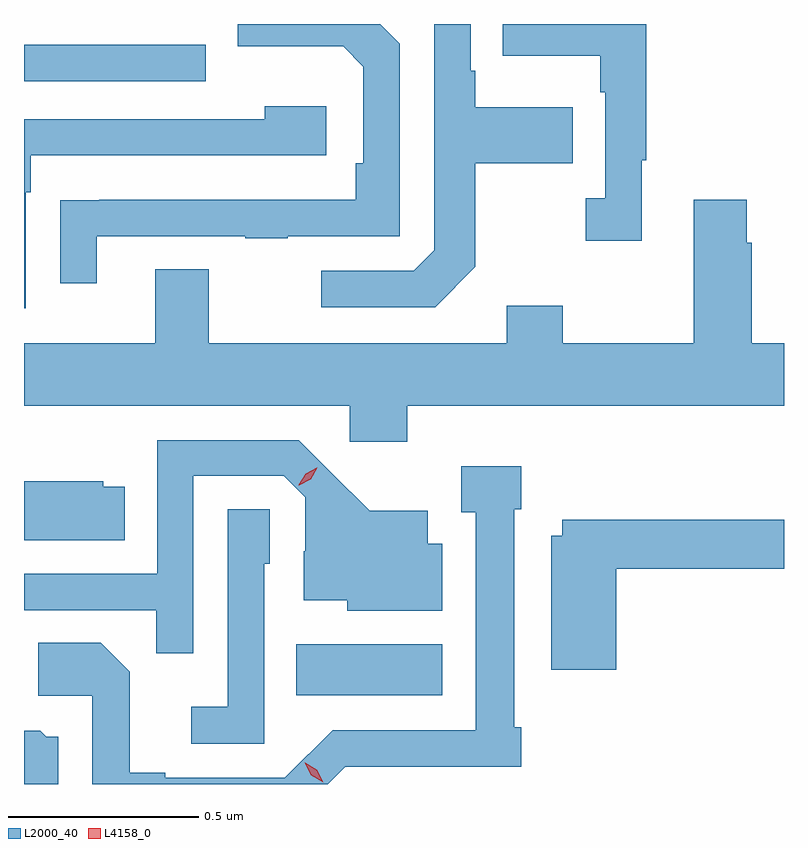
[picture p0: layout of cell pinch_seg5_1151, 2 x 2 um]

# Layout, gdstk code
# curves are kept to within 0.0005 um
import gdstk
lib = gdstk.Library(unit=1e-6, precision=1e-09)
def R(c, l, rs):  # rectangles x0, y0, x1, y1
    for r in rs: c.add(gdstk.rectangle(r[:2], r[2:], *l))
def P(c, l, *ps):  # polygons
    for p in ps: c.add(gdstk.Polygon(p, *l))
L2000_40 = (2000, 40)
L4158_0 = (4158, 0)

pinch_seg5_1151 = lib.new_cell('pinch_seg5_1151')
R(pinch_seg5_1151, L2000_40, [(792.934,838.682,793.318,838.816), (792.217,840.297,792.695,840.393)])
P(pinch_seg5_1151, L2000_40, [(792.409,839.889),(792.799,839.889),(792.799,839.884),(792.911,839.884),(792.911,839.889),(793.206,839.889),(793.206,840.396),(793.154,840.448),(792.78,840.448),(792.78,840.389),(793.057,840.389),(793.11,840.336),(793.11,840.082),(793.09,840.082),(793.09,839.985),(792.415,839.985),(792.415,839.984),(792.313,839.984),(792.313,839.766),(792.409,839.766)],
  [(793.843,840.089),(793.855,840.089),(793.855,840.448),(793.477,840.448),(793.477,840.365),(793.734,840.365),(793.734,840.269),(793.746,840.269),(793.746,839.99),(793.695,839.99),(793.695,839.877),(793.843,839.877)],
  [(793.405,839.809),(793.405,840.082),(793.661,840.082),(793.661,840.229),(793.405,840.229),(793.405,840.325),(793.392,840.325),(793.392,840.448),(793.296,840.448),(793.296,839.853),(793.242,839.799),(792.999,839.799),(792.999,839.703),(793.299,839.703)],
  [(792.222,840.005),(792.235,840.005),(792.235,840.102),(793.012,840.102),(793.012,840.232),(792.851,840.232),(792.851,840.198),(792.217,840.198),(792.217,839.7),(792.222,839.7)],
  [(793.226,839.444),(794.217,839.444),(794.217,839.608),(794.132,839.608),(794.132,839.873),(794.119,839.873),(794.119,839.986),(793.979,839.986),(793.979,839.608),(793.635,839.608),(793.635,839.707),(793.487,839.707),(793.487,839.608),(792.703,839.608),(792.703,839.803),(792.563,839.803),(792.563,839.608),(792.217,839.608),(792.217,839.444),(793.074,839.444),(793.074,839.349),(793.226,839.349)],
  [(792.663,839.259),(792.9,839.259),(792.957,839.202),(792.957,839.06),(792.953,839.06),(792.953,838.931),(793.068,838.931),(793.068,838.904),(793.318,838.904),(793.318,839.08),(793.279,839.08),(793.279,839.167),(793.127,839.167),(792.94,839.352),(792.567,839.352),(792.567,839.001),(792.217,839.001),(792.217,838.905),(792.565,838.905),(792.565,838.792),(792.663,838.792)],
  [(793.062,838.494),(793.284,838.494),(793.284,838.493),(793.525,838.493),(793.525,838.597),(793.507,838.597),(793.507,839.171),(793.525,839.171),(793.525,839.284),(793.367,839.284),(793.367,839.163),(793.406,839.163),(793.406,838.59),(793.029,838.59),(792.903,838.464),(792.589,838.464),(792.589,838.477),(792.495,838.477),(792.495,838.744),(792.419,838.82),(792.255,838.82),(792.255,838.68),(792.396,838.68),(792.396,838.448),(793.016,838.448)],
  [(792.482,839.23),(792.426,839.23),(792.426,839.245),(792.217,839.245),(792.217,839.09),(792.482,839.09)],
  [(792.849,839.028),(792.864,839.028),(792.864,839.171),(792.753,839.171),(792.753,838.651),(792.657,838.651),(792.657,838.554),(792.849,838.554)],
  [(793.775,839.014),(794.217,839.014),(794.217,839.143),(793.634,839.143),(793.634,839.101),(793.604,839.101),(793.604,838.749),(793.775,838.749)],
  [(792.307,838.572),(792.276,838.572),(792.26,838.588),(792.217,838.588),(792.217,838.448),(792.307,838.448)])
P(pinch_seg5_1151, L4158_0, [(793.005,838.452),(792.973,838.471),(792.956,838.504),(792.956,838.504),(792.957,838.504),(792.988,838.485),(793.005,838.452),(793.005,838.452)],
  [(792.94,839.234),(792.94,839.235),(792.958,839.264),(792.988,839.28),(792.989,839.28),(792.989,839.28),(792.971,839.25),(792.941,839.234)])

lib.write_gds('pinch_seg5_1151.gds')
